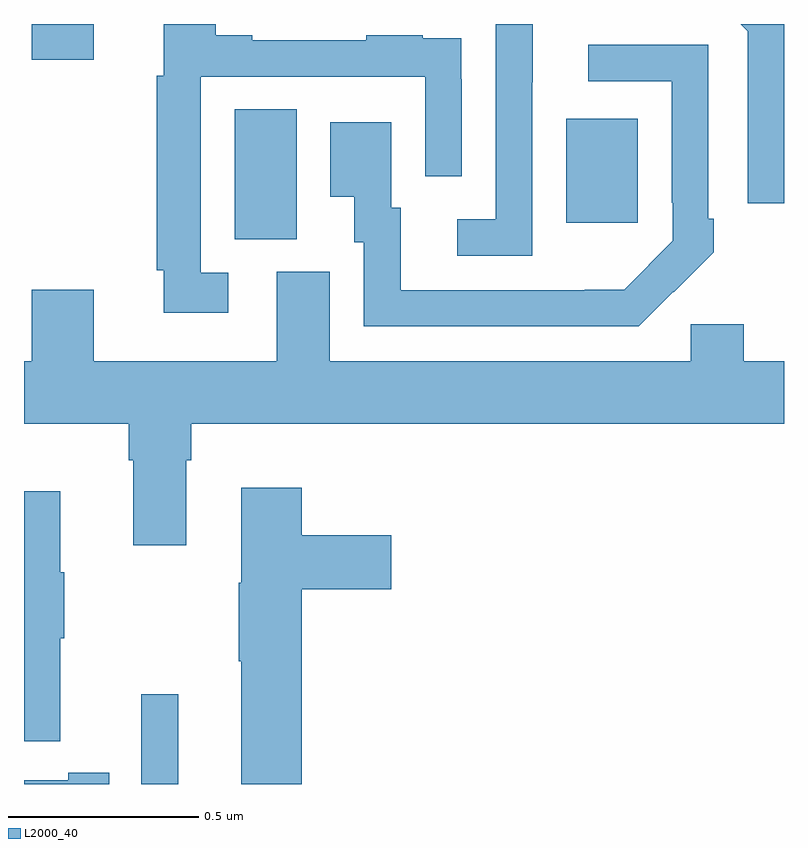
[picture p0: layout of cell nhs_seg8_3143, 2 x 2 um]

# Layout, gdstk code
import gdstk
lib = gdstk.Library(unit=1e-6, precision=1e-09)
def R(c, l, rs):  # rectangles x0, y0, x1, y1
    for r in rs: c.add(gdstk.rectangle(r[:2], r[2:], *l))
def P(c, l, *ps):  # polygons
    for p in ps: c.add(gdstk.Polygon(p, *l))
L2000_40 = (2000, 40)

nhs_seg8_3143 = lib.new_cell('nhs_seg8_3143')
R(nhs_seg8_3143, L2000_40, [(153.309,1100.9,153.406,1101.136), (153.554,1102.333,153.718,1102.676), (154.427,1102.377,154.615,1102.651), (153.02,1102.806,153.184,1102.9)])
P(nhs_seg8_3143, L2000_40, [(153.538,1102.245),(153.465,1102.245),(153.465,1102.761),(154.056,1102.761),(154.056,1102.5),(154.152,1102.5),(154.152,1102.754),(154.151,1102.754),(154.151,1102.863),(154.049,1102.863),(154.049,1102.87),(153.901,1102.87),(153.901,1102.857),(153.601,1102.857),(153.601,1102.87),(153.505,1102.87),(153.505,1102.9),(153.368,1102.9),(153.368,1102.764),(153.349,1102.764),(153.349,1102.252),(153.368,1102.252),(153.368,1102.14),(153.538,1102.14)],
  [(154.338,1102.747),(154.339,1102.747),(154.339,1102.9),(154.242,1102.9),(154.242,1102.386),(154.14,1102.386),(154.14,1102.29),(154.338,1102.29)],
  [(155,1102.9),(154.886,1102.9),(154.905,1102.881),(154.905,1102.428),(155,1102.428)],
  [(154.709,1102.195),(154.71,1102.194),(154.815,1102.299),(154.815,1102.387),(154.8,1102.387),(154.8,1102.845),(154.485,1102.845),(154.485,1102.749),(154.704,1102.749),(154.704,1102.429),(154.707,1102.429),(154.707,1102.329),(154.579,1102.201),(154.475,1102.201),(154.475,1102.2),(153.991,1102.2),(153.991,1102.416),(153.967,1102.416),(153.967,1102.642),(153.806,1102.642),(153.806,1102.445),(153.869,1102.445),(153.869,1102.326),(153.894,1102.326),(153.894,1102.104),(154.618,1102.104)],
  [(153.427,1101.752),(153.44,1101.752),(153.44,1101.848),(155,1101.848),(155,1102.012),(154.894,1102.012),(154.894,1102.11),(154.755,1102.11),(154.755,1102.012),(153.805,1102.012),(153.805,1102.248),(153.665,1102.248),(153.665,1102.012),(153.184,1102.012),(153.184,1102.201),(153.02,1102.201),(153.02,1102.012),(153,1102.012),(153,1101.848),(153.275,1101.848),(153.275,1101.752),(153.287,1101.752),(153.287,1101.528),(153.427,1101.528)],
  [(153.731,1101.413),(153.967,1101.413),(153.967,1101.555),(153.731,1101.555),(153.731,1101.679),(153.572,1101.679),(153.572,1101.429),(153.565,1101.429),(153.565,1101.223),(153.572,1101.223),(153.572,1100.9),(153.731,1100.9)],
  [(153.095,1101.283),(153.106,1101.283),(153.106,1101.457),(153.095,1101.457),(153.095,1101.67),(153,1101.67),(153,1101.012),(153.095,1101.012)],
  [(153.224,1100.93),(153.116,1100.93),(153.116,1100.91),(153,1100.91),(153,1100.9),(153.224,1100.9)])

lib.write_gds('nhs_seg8_3143.gds')
